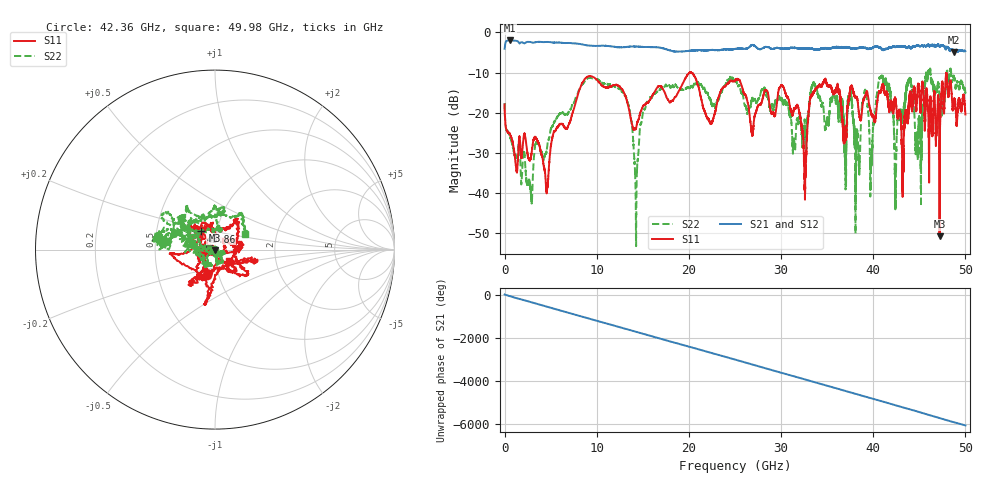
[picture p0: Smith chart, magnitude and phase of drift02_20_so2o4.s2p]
!Created with skrf (http://scikit-rf.org).
# Hz S RI R 50.0
!freq ReS11 ImS11 ReS21 ImS21 ReS12 ImS12 ReS22 ImS22
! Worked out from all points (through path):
!   10001 points, 300 kHz to 50 GHz, reference 50 ohm
!   highest |S21| = -1.99 dB at 555.3 MHz (marker M1); lowest = -4.9 dB at 48.77 GHz (marker M2)
!   group delay of S21, straight-line fit = 337 ps
!   lowest |S11| = -50.8 dB at 47.2 GHz (marker M3), VSWR 1.01, Z = 49.9 - j0.25 ohm
!   |S11| at or under -10 dB: start of sweep to 20.06 GHz; 20.20831 GHz to 20.21821 GHz (9.896 MHz wide, 0.049 % of centre); 20.24 GHz to end of sweep (the widest 3 of 4)
!   |S22| runs from -53.2 to -9.0 dB; largest |S21 - S12| = 0.032
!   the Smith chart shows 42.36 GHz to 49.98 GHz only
!   S11 on the Smith chart (normalised r, x): 42.36 GHz: 0.88, -0.26; 43.86 GHz: 0.84, +0.17; 49.98 GHz: 1.16, -0.15
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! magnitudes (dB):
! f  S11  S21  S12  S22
! 300 kHz  -17.9  -4.0  -4.0  -17.6
! 555.3 MHz  -25.2  -2.0  -2.0  -25.8
! 4.565 GHz  -39.9  -2.4  -2.4  -29.3
! 8.335 GHz  -13.0  -2.9  -2.9  -13.3
! 13.01 GHz  -15.3  -3.6  -3.7  -15.6
! 14.28 GHz  -23.7  -3.5  -3.5  -48.5
! 16.67 GHz  -13.4  -3.7  -3.7  -14.5
! 25 GHz  -12.0  -4.1  -4.1  -12.1
! 30.18 GHz  -13.4  -4.1  -4.1  -16.8
! 32.56 GHz  -39.3  -4.0  -4.0  -24.2
! 33.34 GHz  -15.7  -4.0  -4.1  -13.4
! 37.48 GHz  -14.7  -3.9  -3.9  -15.9
! 38.29 GHz  -16.9  -3.9  -3.9  -24.7
! 41.67 GHz  -18.5  -3.8  -3.9  -12.8
! 42.36 GHz  -16.5  -3.6  -3.6  -43.2
! 43.86 GHz  -17.8  -3.5  -3.5  -12.0
! 44.99 GHz  -14.2  -3.4  -3.3  -22.6
! 45.92 GHz  -18.5  -3.1  -3.1  -11.1
! 47.2 GHz  -50.8  -3.5  -3.4  -16.7
! 48.77 GHz  -17.1  -4.9  -4.8  -11.0
! 49.98 GHz  -19.9  -4.6  -4.6  -14.4
! 50 GHz  -20.4  -4.6  -4.6  -14.8
